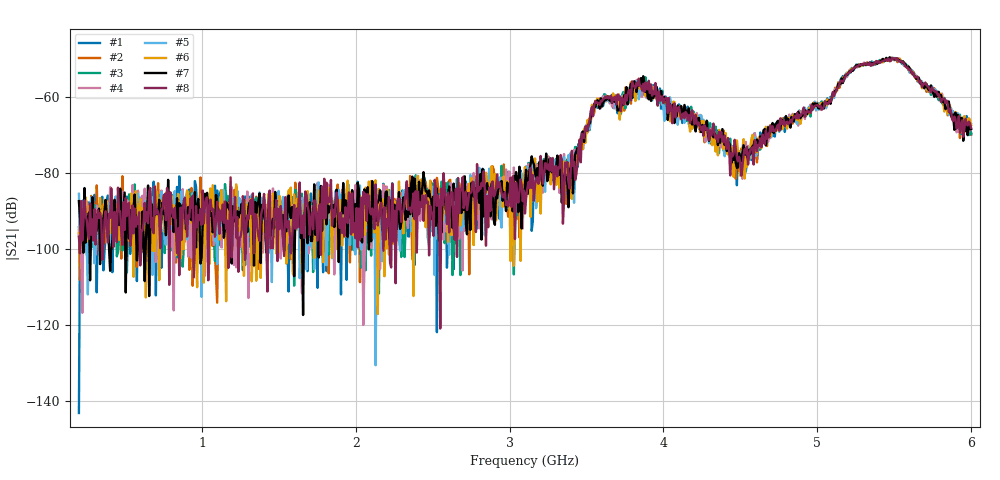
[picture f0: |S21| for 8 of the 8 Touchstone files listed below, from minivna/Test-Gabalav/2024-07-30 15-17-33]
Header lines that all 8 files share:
! NanoVNA-App by OneOfEleven et al v1.1.209 (+OD15)
! Start: 200MHz Stop: 6GHz Points: 801
! S-Parameter data: F S11 S21 S12 S22
# Hz S RI R 50
!  Frequency  S11_Real  S11_Imag  S21_Real  S21_Imag  S12_Real  S12_Imag  S22_Real  S22_Imag
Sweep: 200 MHz to 6 GHz
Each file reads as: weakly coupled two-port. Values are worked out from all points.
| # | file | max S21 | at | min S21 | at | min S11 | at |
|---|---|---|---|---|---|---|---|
| 1 | 1.s2p | -49.85 dB | 5.5 GHz | -143.3 dB | 200 MHz | -5.6 dB | 2.941 GHz |
| 2 | 4.s2p | -49.89 dB | 5.492 GHz | -114.3 dB | 1.099 GHz | -5.6 dB | 2.948 GHz |
| 3 | 5.s2p | -49.95 dB | 5.449 GHz | -111.8 dB | 2.15 GHz | -5.6 dB | 2.948 GHz |
| 4 | 6.s2p | -49.82 dB | 5.478 GHz | -120.1 dB | 2.049 GHz | -5.6 dB | 2.948 GHz |
| 5 | 9.s2p | -49.81 dB | 5.492 GHz | -130.7 dB | 2.128 GHz | -5.6 dB | 2.948 GHz |
| 6 | 14.s2p | -49.83 dB | 5.485 GHz | -117.2 dB | 2.143 GHz | -5.6 dB | 2.941 GHz |
| 7 | 16.s2p | -49.67 dB | 5.471 GHz | -117.5 dB | 1.657 GHz | -5.6 dB | 2.948 GHz |
| 8 | 17.s2p | -49.80 dB | 5.485 GHz | -121.1 dB | 2.549 GHz | -5.6 dB | 2.948 GHz |
